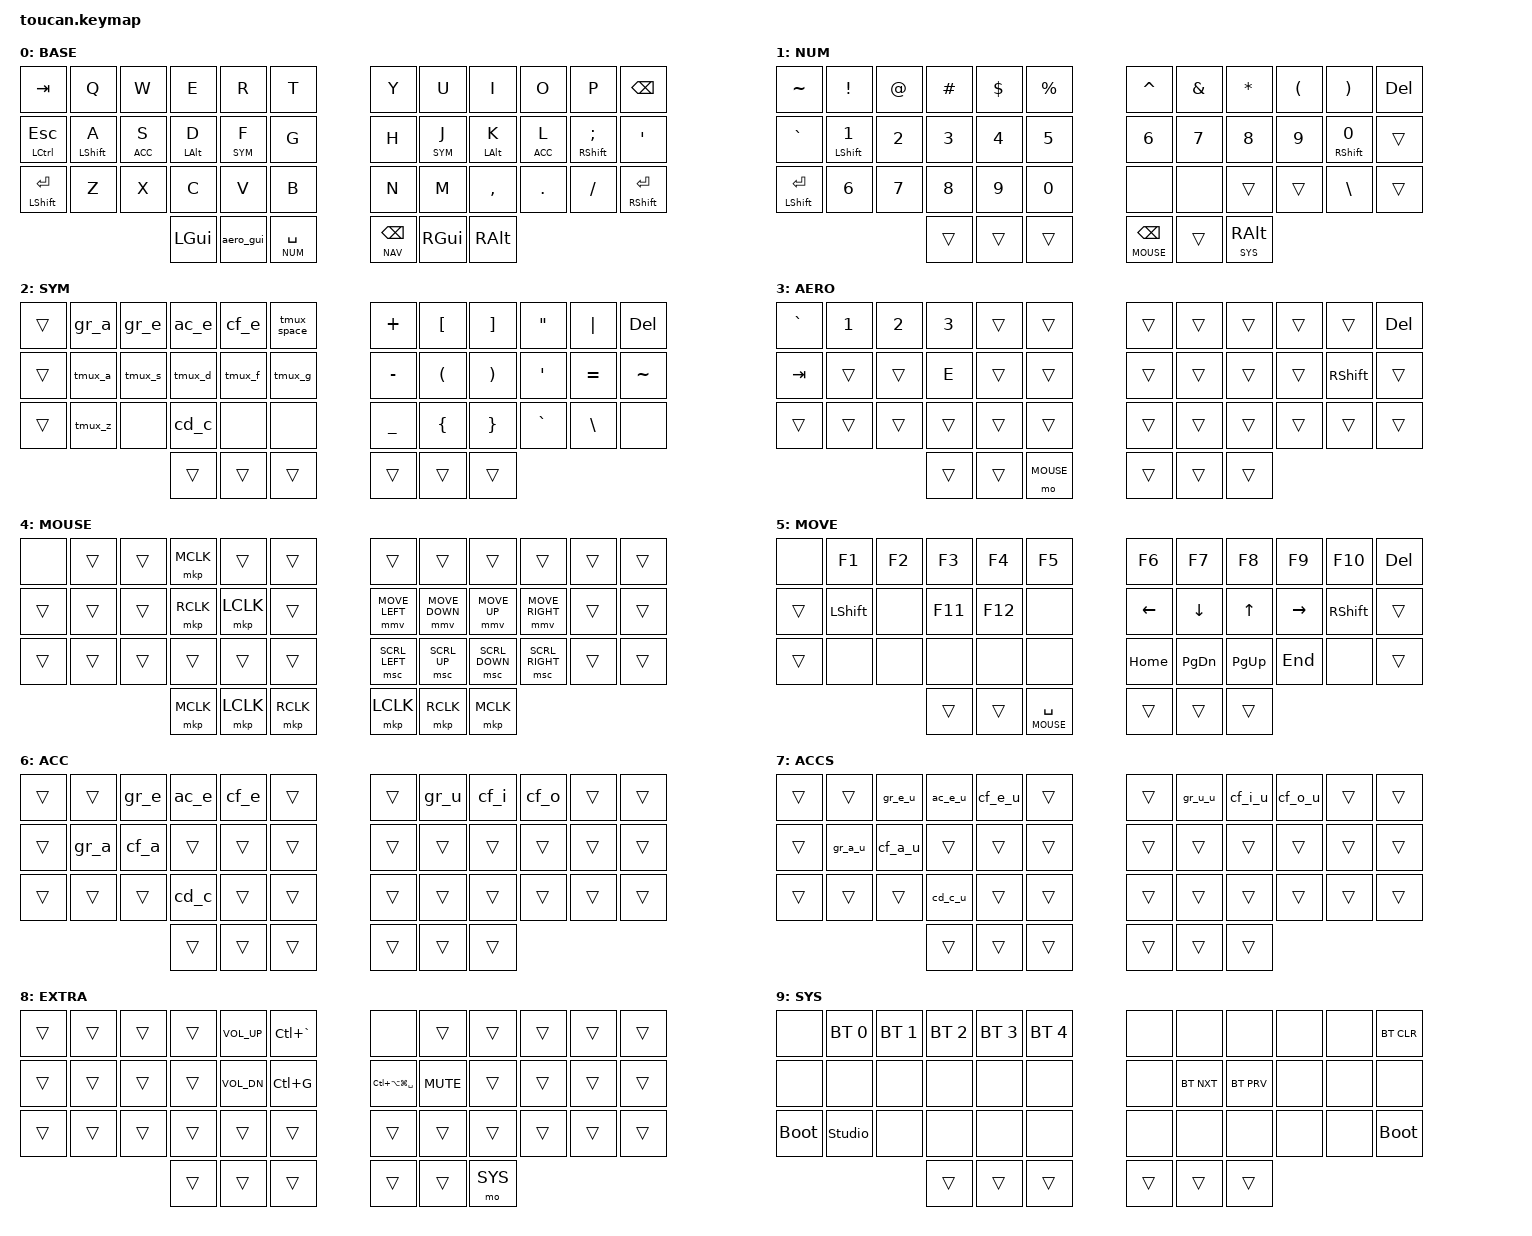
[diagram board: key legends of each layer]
// Toucan layout for config and shield builds.
#define ZMK_POINTING_DEFAULT_MOVE_VAL 2400

#include <behaviors.dtsi>
#include <dt-bindings/zmk/keys.h>
#include <dt-bindings/zmk/bt.h>
#include <dt-bindings/zmk/outputs.h>
#include <dt-bindings/zmk/pointing.h>

#define BASE  0
#define NUM   1
#define SYM   2
#define AERO  3
// Layer 4 is also activated by the trackpad's is_touching_processor.
#define MOUSE 4
#define NAV   5
#define ACC   6
#define ACCS  7
#define EXTRA 8
#define SYS   9

// Sequential taps release modifiers between the dead key/prefix and next key.
#define MACRO_BINDING_CELLS #binding-cells
#define TAP_SEQUENCE(macro_name, ...) \
    macro_name: macro_name { \
        compatible = "zmk,behavior-macro"; \
        display-name = #macro_name; \
        MACRO_BINDING_CELLS = <0>; \
        bindings = <__VA_ARGS__>; \
    };

&lt {
    tapping-term-ms = <200>;
    flavor = "balanced";
    quick-tap-ms = <150>;
};

&mt {
    tapping-term-ms = <200>;
    flavor = "balanced";
    quick-tap-ms = <150>;
};

&mmv {
    time-to-max-speed-ms = <400>;
    acceleration-exponent = <1>;
};

&msc {
    time-to-max-speed-ms = <400>;
    acceleration-exponent = <1>;
};

/ {
    combos {
        compatible = "zmk,combos";

        // Hold the two inner thumbs to access extra shortcuts.
        extra_thumbs {
            timeout-ms = <50>;
            key-positions = <38 39>;
            bindings = <&mo EXTRA>;
            layers = <BASE>;
        };

        // A+S and L+semicolon uppercase-accent chords.
        accs_left {
            timeout-ms = <50>;
            key-positions = <13 14>;
            bindings = <&mo ACCS>;
            require-prior-idle-ms = <250>;
            layers = <BASE>;
        };

        accs_right {
            timeout-ms = <50>;
            key-positions = <21 22>;
            bindings = <&mo ACCS>;
            require-prior-idle-ms = <250>;
            layers = <BASE>;
        };
    };

    macros {
        // Hold Command and the window-management layer together.
        aero_gui: aero_gui {
            compatible = "zmk,behavior-macro";
            #binding-cells = <0>;
            bindings =
                <&macro_press &kp LGUI &mo AERO>,
                <&macro_pause_for_release>,
                <&macro_release &mo AERO &kp LGUI>;
        };

        TAP_SEQUENCE(tmux_a, &kp LC(A) &kp A)
        TAP_SEQUENCE(tmux_s, &kp LC(A) &kp S)
        TAP_SEQUENCE(tmux_d, &kp LC(A) &kp D)
        TAP_SEQUENCE(tmux_f, &kp LC(A) &kp F)
        TAP_SEQUENCE(tmux_g, &kp LC(A) &kp G)
        TAP_SEQUENCE(tmux_space, &kp LC(A) &kp SPACE)
        TAP_SEQUENCE(tmux_z, &kp LC(A) &kp Z)

        // macOS Option/dead-key sequences, shared by SYM and accent layers.
        TAP_SEQUENCE(ac_e, &kp LA(E) &kp E)
        TAP_SEQUENCE(gr_e, &kp LA(GRAVE) &kp E)
        TAP_SEQUENCE(gr_a, &kp LA(GRAVE) &kp A)
        TAP_SEQUENCE(gr_u, &kp LA(GRAVE) &kp U)
        TAP_SEQUENCE(cf_e, &kp LA(I) &kp E)
        TAP_SEQUENCE(cf_a, &kp LA(I) &kp A)
        TAP_SEQUENCE(cf_o, &kp LA(I) &kp O)
        TAP_SEQUENCE(cf_i, &kp LA(I) &kp I)
        TAP_SEQUENCE(cd_c, &kp LA(C))

        TAP_SEQUENCE(ac_e_u, &kp LA(E) &kp LS(E))
        TAP_SEQUENCE(gr_e_u, &kp LA(GRAVE) &kp LS(E))
        TAP_SEQUENCE(gr_a_u, &kp LA(GRAVE) &kp LS(A))
        TAP_SEQUENCE(gr_u_u, &kp LA(GRAVE) &kp LS(U))
        TAP_SEQUENCE(cf_e_u, &kp LA(I) &kp LS(E))
        TAP_SEQUENCE(cf_a_u, &kp LA(I) &kp LS(A))
        TAP_SEQUENCE(cf_o_u, &kp LA(I) &kp LS(O))
        TAP_SEQUENCE(cf_i_u, &kp LA(I) &kp LS(I))
        TAP_SEQUENCE(cd_c_u, &kp LS(LA(C)))
    };

    keymap {
        compatible = "zmk,keymap";

        base {
            display-name = "BASE";
            bindings = <
                &kp TAB          &kp Q        &kp W     &kp E      &kp R     &kp T   &kp Y &kp U     &kp I      &kp O     &kp P          &kp BSPC
                &mt LCTRL ESC    &mt LSHFT A  &lt ACC S &mt LALT D &lt SYM F &kp G   &kp H &lt SYM J &mt LALT K &lt ACC L &mt RSHFT SEMI &kp SQT
                &mt LSHFT ENTER  &kp Z        &kp X     &kp C      &kp V     &kp B   &kp N &kp M     &kp COMMA  &kp DOT   &kp FSLH       &mt RSHFT ENTER
                                            &kp LGUI &aero_gui &lt NUM SPACE   &lt NAV BSPC &kp RGUI &kp RALT
            >;
        };

        number {
            display-name = "NUM";
            bindings = <
                &kp TILDE       &kp EXCL     &kp AT &kp HASH &kp DLLR &kp PRCNT   &kp CARET &kp AMPS &kp ASTRK &kp LPAR &kp RPAR     &kp DEL
                &kp GRAVE       &mt LSHFT N1 &kp N2 &kp N3   &kp N4   &kp N5      &kp N6    &kp N7   &kp N8    &kp N9   &mt RSHFT N0 &trans
                &mt LSHFT ENTER &kp N6       &kp N7 &kp N8   &kp N9   &kp N0      &none     &none    &trans    &trans   &kp BSLH     &trans
                                            &trans &trans &trans   &lt MOUSE BSPC &trans &lt SYS RALT
            >;
        };

        symbol {
            display-name = "SYM";
            bindings = <
                &trans &gr_a   &gr_e   &ac_e   &cf_e   &tmux_space   &kp PLUS  &kp LBKT &kp RBKT &kp DQT   &kp PIPE  &kp DEL
                &trans &tmux_a &tmux_s &tmux_d &tmux_f &tmux_g       &kp MINUS &kp LPAR &kp RPAR &kp SQT   &kp EQUAL &kp TILDE
                &trans &tmux_z &none   &cd_c   &none   &none         &kp UNDER &kp LBRC &kp RBRC &kp GRAVE &kp BSLH  &none
                                            &trans &trans &trans   &trans &trans &trans
            >;
        };

        aerospace {
            display-name = "AERO";
            bindings = <
                &kp GRAVE &kp N1 &kp N2 &kp N3 &trans &trans   &trans &trans &trans &trans &trans    &kp DEL
                &kp TAB   &trans &trans &kp E  &trans &trans   &trans &trans &trans &trans &kp RSHFT &trans
                &trans    &trans &trans &trans &trans &trans   &trans &trans &trans &trans &trans    &trans
                                      &trans &trans &mo MOUSE   &trans &trans &trans
            >;
        };

        mouse {
            display-name = "MOUSE";
            bindings = <
                &none  &trans &trans &mkp MCLK &trans    &trans   &trans         &trans         &trans       &trans          &trans &trans
                &trans &trans &trans &mkp RCLK &mkp LCLK &trans   &mmv MOVE_LEFT &mmv MOVE_DOWN &mmv MOVE_UP &mmv MOVE_RIGHT &trans &trans
                &trans &trans &trans &trans    &trans    &trans   &msc SCRL_LEFT &msc SCRL_UP   &msc SCRL_DOWN &msc SCRL_RIGHT &trans &trans
                                    &mkp MCLK &mkp LCLK &mkp RCLK   &mkp LCLK &mkp RCLK &mkp MCLK
            >;
        };

        movement {
            display-name = "MOVE";
            bindings = <
                &none  &kp F1    &kp F2 &kp F3  &kp F4  &kp F5      &kp F6   &kp F7    &kp F8    &kp F9    &kp F10   &kp DEL
                &trans &kp LSHFT &none  &kp F11 &kp F12 &none       &kp LEFT &kp DOWN  &kp UP    &kp RIGHT &kp RSHFT &trans
                &trans &none     &none  &none   &none   &none       &kp HOME &kp PG_DN &kp PG_UP &kp END   &none     &trans
                                    &trans &trans &lt MOUSE SPACE   &trans &trans &trans
            >;
        };

        accent {
            display-name = "ACC";
            bindings = <
                &trans &trans &gr_e  &ac_e  &cf_e  &trans   &trans &gr_u  &cf_i  &cf_o  &trans &trans
                &trans &gr_a  &cf_a  &trans &trans &trans   &trans &trans &trans &trans &trans &trans
                &trans &trans &trans &cd_c  &trans &trans   &trans &trans &trans &trans &trans &trans
                                    &trans &trans &trans   &trans &trans &trans
            >;
        };

        accent_shifted {
            display-name = "ACCS";
            bindings = <
                &trans &trans  &gr_e_u &ac_e_u &cf_e_u &trans   &trans &gr_u_u &cf_i_u &cf_o_u &trans &trans
                &trans &gr_a_u &cf_a_u &trans  &trans  &trans   &trans &trans  &trans  &trans  &trans &trans
                &trans &trans  &trans  &cd_c_u &trans  &trans   &trans &trans  &trans  &trans  &trans &trans
                                      &trans &trans &trans   &trans &trans &trans
            >;
        };

        extra {
            display-name = "EXTRA";
            bindings = <
                &trans &trans &trans &trans &kp C_VOL_UP &kp LC(GRAVE)   &none &trans &trans &trans &trans &trans
                &trans &trans &trans &trans &kp C_VOL_DN &kp LC(G)       &kp LC(LA(LG(SPACE))) &kp C_MUTE &trans &trans &trans &trans
                &trans &trans &trans &trans &trans &trans          &trans &trans &trans &trans &trans &trans
                            &trans &trans &trans   &trans &trans &mo SYS
            >;
        };

        system {
            display-name = "SYS";
            bindings = <
                &none       &bt BT_SEL 0 &bt BT_SEL 1 &bt BT_SEL 2 &bt BT_SEL 3 &bt BT_SEL 4   &none &none      &none      &none &none &bt BT_CLR
                &none       &none        &none        &none        &none        &none          &none &bt BT_NXT &bt BT_PRV &none &none &none
                &bootloader &studio_unlock &none      &none        &none        &none          &none &none      &none      &none &none &bootloader
                                                    &trans &trans &trans   &trans &trans &trans
            >;
        };
    };
};
